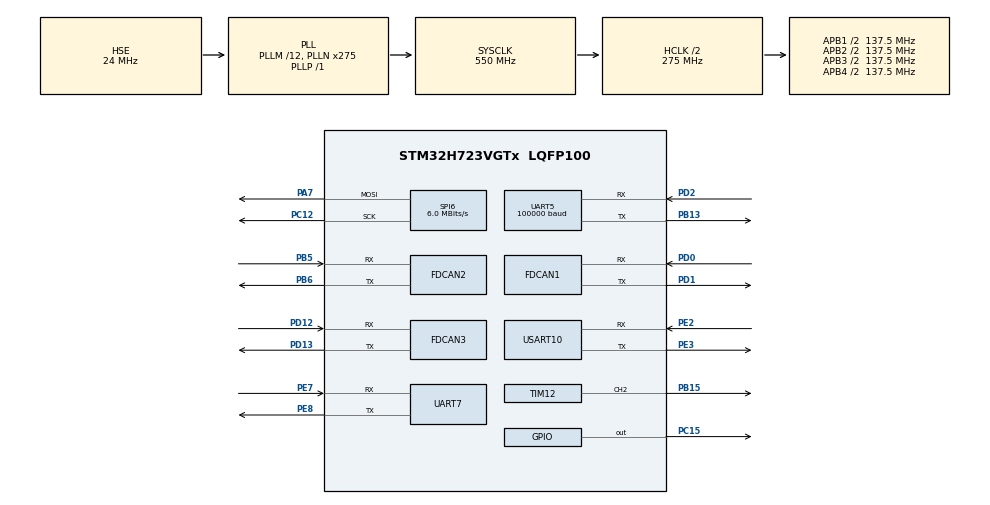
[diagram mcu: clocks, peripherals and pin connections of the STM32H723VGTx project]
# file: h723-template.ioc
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CORTEX_M7.AccessPermission_S-Cortex_Memory_Protection_Unit_Region1_Settings_S=MPU_REGION_FULL_ACCESS
CORTEX_M7.BaseAddress_S-Cortex_Memory_Protection_Unit_Region1_Settings_S=0x30007000
CORTEX_M7.CPU_DCache=Enabled
CORTEX_M7.CPU_ICache=Enabled
CORTEX_M7.Enable_S-Cortex_Memory_Protection_Unit_Region1_Settings_S=MPU_REGION_ENABLE
CORTEX_M7.IsShareable_S-Cortex_Memory_Protection_Unit_Region1_Settings_S=MPU_ACCESS_SHAREABLE
CORTEX_M7.Size_S-Cortex_Memory_Protection_Unit_Region1_Settings_S=MPU_REGION_SIZE_4KB
CORTEX_M7.default_mode_Activation=1
Dma.Request0=USART10_RX
Dma.Request1=UART5_RX
Dma.UART5_RX.1.Direction=DMA_PERIPH_TO_MEMORY
Dma.UART5_RX.1.EventEnable=DISABLE
Dma.UART5_RX.1.FIFOMode=DMA_FIFOMODE_DISABLE
Dma.UART5_RX.1.Instance=DMA1_Stream1
Dma.UART5_RX.1.MemDataAlignment=DMA_MDATAALIGN_BYTE
Dma.UART5_RX.1.MemInc=DMA_MINC_ENABLE
Dma.UART5_RX.1.Mode=DMA_CIRCULAR
Dma.UART5_RX.1.PeriphDataAlignment=DMA_PDATAALIGN_BYTE
Dma.UART5_RX.1.PeriphInc=DMA_PINC_DISABLE
Dma.UART5_RX.1.Polarity=HAL_DMAMUX_REQ_GEN_RISING
Dma.UART5_RX.1.Priority=DMA_PRIORITY_VERY_HIGH
Dma.UART5_RX.1.RequestNumber=1
Dma.UART5_RX.1.SignalID=NONE
Dma.UART5_RX.1.SyncEnable=DISABLE
Dma.UART5_RX.1.SyncPolarity=HAL_DMAMUX_SYNC_NO_EVENT
Dma.UART5_RX.1.SyncRequestNumber=1
Dma.UART5_RX.1.SyncSignalID=NONE
Dma.USART10_RX.0.Direction=DMA_PERIPH_TO_MEMORY
Dma.USART10_RX.0.EventEnable=DISABLE
Dma.USART10_RX.0.FIFOMode=DMA_FIFOMODE_DISABLE
Dma.USART10_RX.0.Instance=DMA1_Stream0
Dma.USART10_RX.0.MemDataAlignment=DMA_MDATAALIGN_BYTE
Dma.USART10_RX.0.MemInc=DMA_MINC_ENABLE
Dma.USART10_RX.0.Mode=DMA_CIRCULAR
Dma.USART10_RX.0.PeriphDataAlignment=DMA_PDATAALIGN_BYTE
Dma.USART10_RX.0.PeriphInc=DMA_PINC_DISABLE
Dma.USART10_RX.0.Polarity=HAL_DMAMUX_REQ_GEN_RISING
Dma.USART10_RX.0.Priority=DMA_PRIORITY_VERY_HIGH
Dma.USART10_RX.0.RequestNumber=1
Dma.USART10_RX.0.SignalID=NONE
Dma.USART10_RX.0.SyncEnable=DISABLE
Dma.USART10_RX.0.SyncPolarity=HAL_DMAMUX_SYNC_NO_EVENT
Dma.USART10_RX.0.SyncRequestNumber=1
Dma.USART10_RX.0.SyncSignalID=NONE
FDCAN1.AutoRetransmission=ENABLE
FDCAN1.CalculateBaudRateNominal=1000000
FDCAN1.CalculateTimeBitNominal=1000
FDCAN1.CalculateTimeQuantumNominal=10.0
FDCAN1.DataPrescaler=4
FDCAN1.DataSyncJumpWidth=7
FDCAN1.DataTimeSeg1=17
FDCAN1.DataTimeSeg2=7
FDCAN1.ExtFiltersNbr=8
FDCAN1.NominalPrescaler=1
FDCAN1.NominalSyncJumpWidth=25
FDCAN1.NominalTimeSeg1=74
FDCAN1.NominalTimeSeg2=25
FDCAN1.ProtocolException=ENABLE
FDCAN1.RxFifo0ElmtsNbr=32
FDCAN1.StdFiltersNbr=16
FDCAN1.TxFifoQueueElmtsNbr=32
FDCAN2.AutoRetransmission=ENABLE
FDCAN2.CalculateBaudRateNominal=1000000
FDCAN2.CalculateTimeBitNominal=1000
FDCAN2.CalculateTimeQuantumNominal=10.0
FDCAN2.DataPrescaler=4
FDCAN2.DataSyncJumpWidth=7
FDCAN2.DataTimeSeg1=17
FDCAN2.DataTimeSeg2=7
FDCAN2.ExtFiltersNbr=8
FDCAN2.MessageRAMOffset=853
FDCAN2.NominalPrescaler=1
FDCAN2.NominalSyncJumpWidth=25
FDCAN2.NominalTimeSeg1=74
FDCAN2.NominalTimeSeg2=25
FDCAN2.ProtocolException=ENABLE
FDCAN2.RxFifo0ElmtsNbr=32
FDCAN2.StdFiltersNbr=16
FDCAN2.TxFifoQueueElmtsNbr=32
FDCAN3.AutoRetransmission=ENABLE
FDCAN3.CalculateBaudRateNominal=1000000
FDCAN3.CalculateTimeBitNominal=1000
FDCAN3.CalculateTimeQuantumNominal=10.0
FDCAN3.DataPrescaler=4
FDCAN3.DataSyncJumpWidth=7
FDCAN3.DataTimeSeg1=17
FDCAN3.DataTimeSeg2=7
FDCAN3.ExtFiltersNbr=8
FDCAN3.MessageRAMOffset=1706
FDCAN3.NominalPrescaler=1
FDCAN3.NominalSyncJumpWidth=25
FDCAN3.NominalTimeSeg1=74
FDCAN3.NominalTimeSeg2=25
FDCAN3.ProtocolException=ENABLE
FDCAN3.RxFifo0ElmtsNbr=32
FDCAN3.StdFiltersNbr=16
FDCAN3.TxFifoQueueElmtsNbr=32
IWDG1.Prescaler=IWDG_PRESCALER_32
IWDG1.Reload=500
Mcu.Family=STM32H7
Mcu.Name=STM32H723VGTx
Mcu.Package=LQFP100
NVIC.DMA1_Stream0_IRQn=true\:0\:0\:false\:false\:true\:false\:true\:true
NVIC.DMA1_Stream1_IRQn=true\:0\:0\:false\:false\:true\:false\:true\:true
NVIC.FDCAN1_IT0_IRQn=true\:1\:0\:true\:false\:true\:true\:true\:true
NVIC.FDCAN2_IT0_IRQn=true\:1\:0\:true\:false\:true\:true\:true\:true
NVIC.FDCAN3_IT0_IRQn=true\:0\:0\:false\:false\:true\:true\:true\:true
NVIC.PriorityGroup=NVIC_PRIORITYGROUP_4
NVIC.TIM5_IRQn=true\:2\:0\:true\:false\:true\:true\:true\:true
NVIC.UART5_IRQn=true\:0\:0\:false\:false\:true\:true\:true\:true
NVIC.USART10_IRQn=true\:1\:0\:true\:false\:true\:true\:true\:true
PA13(JTMS/SWDIO).Mode=Serial_Wire
PA13(JTMS/SWDIO).Signal=DEBUG_JTMS-SWDIO
PA14(JTCK/SWCLK).Mode=Serial_Wire
PA14(JTCK/SWCLK).Signal=DEBUG_JTCK-SWCLK
PA7.Mode=TX_Only_Simplex_Unidirect_Master
PA7.Signal=SPI6_MOSI
PB13.Mode=Asynchronous
PB13.Signal=UART5_TX
PB15.Signal=S_TIM12_CH2
PB5.Mode=FDCAN_Activate
PB5.Signal=FDCAN2_RX
PB6.Mode=FDCAN_Activate
PB6.Signal=FDCAN2_TX
PC12.Mode=TX_Only_Simplex_Unidirect_Master
PC12.Signal=SPI6_SCK
PC15-OSC32_OUT.GPIO_ModeDefaultOutputPP=GPIO_MODE_OUTPUT_PP
PC15-OSC32_OUT.PinState=GPIO_PIN_RESET
PC15-OSC32_OUT.Signal=GPIO_Output
PD0.Mode=FDCAN_Activate
PD0.Signal=FDCAN1_RX
PD1.Mode=FDCAN_Activate
PD1.Signal=FDCAN1_TX
PD12.Mode=FDCAN_Activate
PD12.Signal=FDCAN3_RX
PD13.Mode=FDCAN_Activate
PD13.Signal=FDCAN3_TX
PD2.Mode=Asynchronous
PD2.Signal=UART5_RX
PE2.Mode=Asynchronous
PE2.Signal=USART10_RX
PE3.Mode=Asynchronous
PE3.Signal=USART10_TX
PE7.Mode=Asynchronous
PE7.Signal=UART7_RX
PE8.Mode=Asynchronous
PE8.Signal=UART7_TX
PH0-OSC_IN.Mode=HSE-External-Oscillator
PH0-OSC_IN.Signal=RCC_OSC_IN
PH1-OSC_OUT.Mode=HSE-External-Oscillator
PH1-OSC_OUT.Signal=RCC_OSC_OUT
ProjectManager.HeapSize=0x200
ProjectManager.StackSize=0x400
ProjectManager.TargetToolchain=CMake
RCC.ADCFreq_Value=100000000
RCC.APB1Freq_Value=137500000
RCC.APB2Freq_Value=137500000
RCC.APB3Freq_Value=137500000
RCC.APB4Freq_Value=137500000
RCC.CortexFreq_Value=550000000
RCC.D1PPRE=RCC_APB3_DIV2
RCC.D2PPRE1=RCC_APB1_DIV2
RCC.D2PPRE2=RCC_APB2_DIV2
RCC.D3PPRE=RCC_APB4_DIV2
RCC.DIVM1=12
RCC.DIVM2=24
RCC.DIVM3=24
RCC.DIVN1=275
RCC.DIVN2=200
RCC.DIVN3=160
RCC.DIVP1=1
RCC.FDCANCLockSelection=RCC_FDCANCLKSOURCE_PLL2
RCC.HCLKFreq_Value=275000000
RCC.HPRE=RCC_HCLK_DIV2
RCC.HSE_VALUE=24000000
RCC.PLL2FRACN=0
RCC.PLL3FRACN=0
RCC.PLLFRACN=0
RCC.PLLSourceVirtual=RCC_PLLSOURCE_HSE
RCC.SPI6CLockSelection=RCC_SPI6CLKSOURCE_HSE
RCC.SYSCLKFreq_VALUE=550000000
RCC.SYSCLKSource=RCC_SYSCLKSOURCE_PLLCLK
RCC.USBFreq_Value=275000000
SH.S_TIM12_CH2.0=TIM12_CH2,PWM Generation2 CH2
SPI6.BaudRatePrescaler=SPI_BAUDRATEPRESCALER_4
SPI6.CalculateBaudRate=6.0 MBits/s
SPI6.DataSize=SPI_DATASIZE_8BIT
SPI6.Direction=SPI_DIRECTION_2LINES_TXONLY
SPI6.Mode=SPI_MODE_MASTER
SPI6.VirtualType=VM_MASTER
TIM12.AutoReloadPreload=TIM_AUTORELOAD_PRELOAD_ENABLE
TIM12.Channel-PWM\ Generation2\ CH2=TIM_CHANNEL_2
TIM12.Period=1000-1
TIM12.Prescaler=275-1
TIM12.Pulse-PWM\ Generation2\ CH2=500-1
TIM5.Period=1000-1
TIM5.Prescaler=275-1
UART5.BaudRate=100000
UART5.FIFOMode=FIFOMODE_ENABLE
UART5.Mode=MODE_RX
UART5.Parity=PARITY_EVEN
UART5.WordLength=WORDLENGTH_9B
USART10.FIFOMode=FIFOMODE_ENABLE
USART10.VirtualMode=VM_ASYNC
VP_IWDG1_VS_IWDG.Mode=IWDG_Activate
VP_MEMORYMAP_VS_MEMORYMAP.Mode=CurAppReg
VP_TIM12_VS_ClockSourceINT.Mode=Internal
VP_TIM5_VS_ClockSourceINT.Mode=Internal
board=custom

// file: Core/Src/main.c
/* USER CODE BEGIN Header */
/**
 ******************************************************************************
 * @file           : main.c
 * @brief          : Main program body
 ******************************************************************************
 * @attention
 *
 * Copyright (c) 2026 STMicroelectronics.
 * All rights reserved.
 *
 * This software is licensed under terms that can be found in the LICENSE file
 * in the root directory of this software component.
 * If no LICENSE file comes with this software, it is provided AS-IS.
 *
 ******************************************************************************
 */
/* USER CODE END Header */
#include "main.h"
#include "dma.h"
#include "fdcan.h"
#include "gpio.h"
#include "iwdg.h"
#include "spi.h"
#include "tim.h"
#include "usart.h"

/* USER CODE BEGIN Includes */
#include "chassis.h"
#include "rust_clean.h"

#include "bsp_dwt.h"
#include "bsp_fdcan.h"
#include "bsp_gpio.h"
#include "bsp_spi.h"
#include "bsp_usart.h"

#include "buzzer.h"
#include "dbus.h"
#include "f103.h"
#include "motor.h"
#include "sbus.h"
#include "ws2812.h"

#include "log.h"
#include "vofa.h"

/* USER CODE END Includes */

/* USER CODE BEGIN PD */
#define MCU_MAIN_FREQ 550 /* MHz */
#define APB1_FREQ 275	  /* MHz */

/* USER CODE END PD */

/* USER CODE BEGIN PV */
struct spi_inst *spi6 = NULL;
struct tim_inst *tim5 = NULL;
struct tim_inst *tim12 = NULL;
struct usart_inst *usart5 = NULL;
struct gpio_inst *gpio_pc15 = NULL;
const struct sbus_data *sbus = NULL;

/* USER CODE END PV */

void SystemClock_Config(void);
void PeriphCommonClock_Config(void);
static void MPU_Config(void);
/* USER CODE BEGIN PFP */
void bsp_init(void);
void device_init(void);

/* USER CODE END PFP */

/* USER CODE BEGIN 0 */
void usart5_callback(uint8_t *rx_buff, uint16_t len)
{
	if (len == SBUS_FRAME_LENGTH) {
		sbus_update(rx_buff);

		/* if get data and data is safe, feed the dog */
		if (sbus_get_data()->safe == SBUS_SAFE) {
			HAL_IWDG_Refresh(&hiwdg1);
		}
	}
}

void task() /* 1000hz task */
{
	static uint64_t cnt = 0; /* counter */

	chassis_task();	     /* 1000 hz */
	motor_set_command(); /* 1000 hz */

	if (cnt++ % 10 == 0) {
		rust_clean_task(); /* 1000 hz */
	}
}

void bsp_init()
{
	/* dwt config */
	dwt_init(MCU_MAIN_FREQ);

	/* spi config */
	struct spi_config spi6_config = {
	    .hspi = &hspi6,
	    .cs_port = NULL,
	    .cs_pin = 0,
	};
	spi6 = spi_register(&spi6_config);

	/* tim config */
	struct tim_config tim5_config = {
	    .htim = &htim5,
	    .mode = TIM_INTERRUPT_MODE,
	    .callback = task,
	};
	struct tim_config tim12_config = {
	    .htim = &htim12,
	    .channel = TIM_CHANNEL_2,
	    .clk_freq = APB1_FREQ * 1000000,
	    .mode = TIM_PWM_MODE,
	};
	tim5 = tim_register(&tim5_config);
	tim12 = tim_register(&tim12_config);

	/* usart config */
	struct usart_config usart5_config = {
	    .huart = &huart5,
	    .rx_mode = USART_RECEIVE_IDLE_DMA_CIRCULAR,
	    .tx_mode = USART_TRANSMIT_NONE,
	    .callback = usart5_callback,
	};
	usart5 = usart_register(&usart5_config);

	/* gpio config */
	struct gpio_config gpio_pc15_config = {
	    .port = GPIOC,
	    .pin = GPIO_PIN_15,
	    .pin_init_state = GPIO_PIN_RESET,
	};
	gpio_pc15 = gpio_register(&gpio_pc15_config);
}

void device_init()
{
	buzzer_register(tim12);
	ws2812_register(spi6);
	f103_init();
	motor_init();
	vofa_init();
}
/* USER CODE END 0 */

int main(void)
{

	/* MPU Configuration--------------------------------------------------------*/
	MPU_Config();

	/* Enable the CPU Cache */

	/* Enable I-Cache---------------------------------------------------------*/
	SCB_EnableICache();

	/* Enable D-Cache---------------------------------------------------------*/
	SCB_EnableDCache();

	/* MCU Configuration--------------------------------------------------------*/

	/* Reset of all peripherals, Initializes the Flash interface and the Systick. */
	HAL_Init();

	/* Configure the system clock */
	SystemClock_Config();

	/* Configure the peripherals common clocks */
	PeriphCommonClock_Config();

	/* Initialize all configured peripherals */
	MX_GPIO_Init();
	MX_DMA_Init();
	MX_SPI6_Init();
	MX_TIM12_Init();
	MX_UART7_Init();
	MX_USART10_UART_Init();
	MX_UART5_Init();
	MX_FDCAN1_Init();
	MX_FDCAN2_Init();
	MX_FDCAN3_Init();
	MX_TIM5_Init();
	MX_IWDG1_Init();
	/* USER CODE BEGIN 2 */
	bsp_init();
	device_init();
	can_start();

	LOG_DEBUG("========================================");	 /* for yellow color */
	LOG_ERROR("FUCKING ROBOMASTER STM32 RTT Terminal Test"); /* for red color */
	LOG_DEBUG("========================================");	 /* for yellow color */

	buzzer_ctrl(4000, 50, 0.5);
	// float target = 0.0f;
	// float actual = 0.0f;
	// float time_ticks = 0.0f;

	/* USER CODE END 2 */

	/* Infinite loop */
	while (1) {

		/* USER CODE BEGIN 3 */
		// target = 100.0f * __builtin_sinf(time_ticks);
		// actual += (target - actual) * 0.1f;
		// time_ticks += 0.05f;
		// dwt_delay_ms(10);
		// vofa_send(target, actual, 0.0f);
		dwt_delay_ms(10);
		// HAL_IWDG_Refresh(&hiwdg1); /* feed the dog */
		sbus = sbus_get_data();
	}
	/* USER CODE END 3 */
}

void SystemClock_Config(void)
{
	RCC_OscInitTypeDef RCC_OscInitStruct = {0};
	RCC_ClkInitTypeDef RCC_ClkInitStruct = {0};

	/** Supply configuration update enable
	 */
	HAL_PWREx_ConfigSupply(PWR_LDO_SUPPLY);

	/** Configure the main internal regulator output voltage
	 */
	__HAL_PWR_VOLTAGESCALING_CONFIG(PWR_REGULATOR_VOLTAGE_SCALE0);

	while (!__HAL_PWR_GET_FLAG(PWR_FLAG_VOSRDY)) {
	}

	/** Initializes the RCC Oscillators according to the specified parameters
	 * in the RCC_OscInitTypeDef structure.
	 */
	RCC_OscInitStruct.OscillatorType = RCC_OSCILLATORTYPE_LSI | RCC_OSCILLATORTYPE_HSE;
	RCC_OscInitStruct.HSEState = RCC_HSE_ON;
	RCC_OscInitStruct.LSIState = RCC_LSI_ON;
	RCC_OscInitStruct.PLL.PLLState = RCC_PLL_ON;
	RCC_OscInitStruct.PLL.PLLSource = RCC_PLLSOURCE_HSE;
	RCC_OscInitStruct.PLL.PLLM = 12;
	RCC_OscInitStruct.PLL.PLLN = 275;
	RCC_OscInitStruct.PLL.PLLP = 1;
	RCC_OscInitStruct.PLL.PLLQ = 2;
	RCC_OscInitStruct.PLL.PLLR = 2;
	RCC_OscInitStruct.PLL.PLLRGE = RCC_PLL1VCIRANGE_1;
	RCC_OscInitStruct.PLL.PLLVCOSEL = RCC_PLL1VCOWIDE;
	RCC_OscInitStruct.PLL.PLLFRACN = 0;
	if (HAL_RCC_OscConfig(&RCC_OscInitStruct) != HAL_OK) {
		Error_Handler();
	}

	/** Initializes the CPU, AHB and APB buses clocks
	 */
	RCC_ClkInitStruct.ClockType = RCC_CLOCKTYPE_HCLK | RCC_CLOCKTYPE_SYSCLK |
				      RCC_CLOCKTYPE_PCLK1 | RCC_CLOCKTYPE_PCLK2 |
				      RCC_CLOCKTYPE_D3PCLK1 | RCC_CLOCKTYPE_D1PCLK1;
	RCC_ClkInitStruct.SYSCLKSource = RCC_SYSCLKSOURCE_PLLCLK;
	RCC_ClkInitStruct.SYSCLKDivider = RCC_SYSCLK_DIV1;
	RCC_ClkInitStruct.AHBCLKDivider = RCC_HCLK_DIV2;
	RCC_ClkInitStruct.APB3CLKDivider = RCC_APB3_DIV2;
	RCC_ClkInitStruct.APB1CLKDivider = RCC_APB1_DIV2;
	RCC_ClkInitStruct.APB2CLKDivider = RCC_APB2_DIV2;
	RCC_ClkInitStruct.APB4CLKDivider = RCC_APB4_DIV2;

	if (HAL_RCC_ClockConfig(&RCC_ClkInitStruct, FLASH_LATENCY_3) != HAL_OK) {
		Error_Handler();
	}
}

void PeriphCommonClock_Config(void)
{
	RCC_PeriphCLKInitTypeDef PeriphClkInitStruct = {0};

	/** Initializes the peripherals clock
	 */
	PeriphClkInitStruct.PeriphClockSelection = RCC_PERIPHCLK_FDCAN;
	PeriphClkInitStruct.PLL2.PLL2M = 24;
	PeriphClkInitStruct.PLL2.PLL2N = 200;
	PeriphClkInitStruct.PLL2.PLL2P = 2;
	PeriphClkInitStruct.PLL2.PLL2Q = 2;
	PeriphClkInitStruct.PLL2.PLL2R = 2;
	PeriphClkInitStruct.PLL2.PLL2RGE = RCC_PLL2VCIRANGE_0;
	PeriphClkInitStruct.PLL2.PLL2VCOSEL = RCC_PLL2VCOMEDIUM;
	PeriphClkInitStruct.PLL2.PLL2FRACN = 0;
	PeriphClkInitStruct.FdcanClockSelection = RCC_FDCANCLKSOURCE_PLL2;
	if (HAL_RCCEx_PeriphCLKConfig(&PeriphClkInitStruct) != HAL_OK) {
		Error_Handler();
	}
}

/* MPU Configuration */

void MPU_Config(void)
{
	MPU_Region_InitTypeDef MPU_InitStruct = {0};

	/* Disables the MPU */
	HAL_MPU_Disable();

	/** Initializes and configures the Region and the memory to be protected
	 */
	MPU_InitStruct.Enable = MPU_REGION_ENABLE;
	MPU_InitStruct.Number = MPU_REGION_NUMBER0;
	MPU_InitStruct.BaseAddress = 0x0;
	MPU_InitStruct.Size = MPU_REGION_SIZE_4GB;
	MPU_InitStruct.SubRegionDisable = 0x87;
	MPU_InitStruct.TypeExtField = MPU_TEX_LEVEL0;
	MPU_InitStruct.AccessPermission = MPU_REGION_NO_ACCESS;
	MPU_InitStruct.DisableExec = MPU_INSTRUCTION_ACCESS_DISABLE;
	MPU_InitStruct.IsShareable = MPU_ACCESS_SHAREABLE;
	MPU_InitStruct.IsCacheable = MPU_ACCESS_NOT_CACHEABLE;
	MPU_InitStruct.IsBufferable = MPU_ACCESS_NOT_BUFFERABLE;

	HAL_MPU_ConfigRegion(&MPU_InitStruct);

	/** Initializes and configures the Region and the memory to be protected
	 */
	MPU_InitStruct.Number = MPU_REGION_NUMBER1;
	MPU_InitStruct.BaseAddress = 0x30007000;
	MPU_InitStruct.Size = MPU_REGION_SIZE_4KB;
	MPU_InitStruct.SubRegionDisable = 0x0;
	MPU_InitStruct.AccessPermission = MPU_REGION_FULL_ACCESS;
	MPU_InitStruct.DisableExec = MPU_INSTRUCTION_ACCESS_ENABLE;

	HAL_MPU_ConfigRegion(&MPU_InitStruct);
	/* Enables the MPU */
	HAL_MPU_Enable(MPU_PRIVILEGED_DEFAULT);
}

void Error_Handler(void)
{
	__disable_irq();
	while (1) {
	}
}
